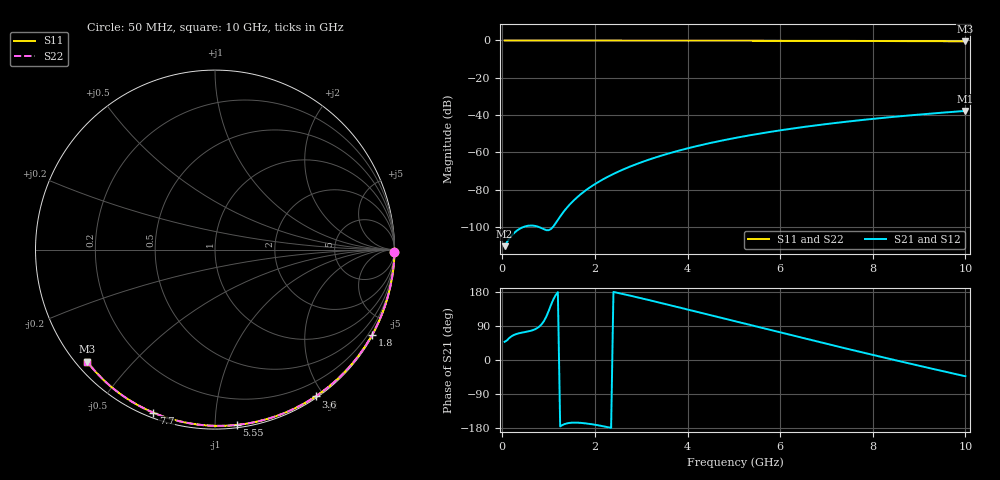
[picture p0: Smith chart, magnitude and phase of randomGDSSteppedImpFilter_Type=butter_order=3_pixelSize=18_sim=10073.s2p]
! freq	dB(S11)	phase(S11)	dB(S12)	phase(S12)
!  dB(S21)	phase(S21)	dB(S22)	phase(S22)
!S-par simulation data
#  GHz  S  DB  R 50
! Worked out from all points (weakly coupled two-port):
!   200 points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, 50 MHz to 10 GHz, reference 50 ohm
!   highest |S21| = -37.82 dB at 10 GHz (marker M1); lowest = -110.4 dB at 50 MHz (marker M2)
!   lowest |S11| = -0.5 dB at 10 GHz (marker M3), VSWR 36.81, Z = 1.55 - j18.8 ohm
!   |S11| at or under -10 dB: nowhere
!   |S22| runs from -0.5 to 0.0 dB; largest |S21 - S12| = 0
!   S11 on the Smith chart (normalised r, x): 50 MHz: open; 1.8 GHz: 0.03, -3.94; 3.6 GHz: 0.02, -1.90; 5.55 GHz: 0.02, -1.13; 7.7 GHz: 0.02, -0.69; 10 GHz: 0.03, -0.38
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0.05  -0.00 -0.8  -110.41 47.9  -110.41 47.9  -0.00 -0.8
0.45  -0.01 -7.2  -100.18 72.9  -100.18 72.9  -0.01 -7.2
0.9  -0.02 -14.4  -101.35 102.8  -101.35 102.8  -0.02 -14.4
1.75  -0.04 -27.7  -81.41 -166.5  -81.41 -166.5  -0.04 -27.7
1.8  -0.04 -28.5  -80.47 -167.2  -80.47 -167.2  -0.04 -28.5
1.85  -0.04 -29.2  -79.57 -168.0  -79.57 -168.0  -0.04 -29.2
2.05  -0.04 -32.3  -76.33 -171.9  -76.33 -171.9  -0.04 -32.3
2.25  -0.05 -35.4  -73.52 -176.5  -73.52 -176.5  -0.05 -35.4
2.55  -0.05 -40.0  -69.90 175.7  -69.90 175.7  -0.05 -40.0
2.95  -0.06 -46.0  -65.86 164.5  -65.86 164.5  -0.06 -46.0
3.4  -0.07 -52.7  -62.08 151.3  -62.08 151.3  -0.07 -52.7
3.6  -0.07 -55.6  -60.59 145.3  -60.59 145.3  -0.07 -55.6
3.9  -0.08 -59.9  -58.55 136.2  -58.55 136.2  -0.08 -59.9
4.3  -0.09 -65.7  -56.11 124.1  -56.11 124.1  -0.09 -65.7
5.05  -0.12 -76.1  -52.22 101.3  -52.22 101.3  -0.12 -76.1
5.55  -0.14 -82.9  -50.02 86.2  -50.02 86.2  -0.14 -82.9
6.1  -0.16 -90.2  -47.87 69.6  -47.87 69.6  -0.16 -90.2
6.7  -0.19 -98.0  -45.80 51.7  -45.80 51.7  -0.19 -98.0
7.7  -0.25 -110.7  -42.87 22.2  -42.87 22.2  -0.25 -110.7
8.35  -0.30 -118.7  -41.24 3.4  -41.24 3.4  -0.30 -118.7
9.2  -0.38 -129.1  -39.36 -20.8  -39.36 -20.8  -0.38 -129.1
10  -0.47 -138.7  -37.82 -42.9  -37.82 -42.9  -0.47 -138.7
